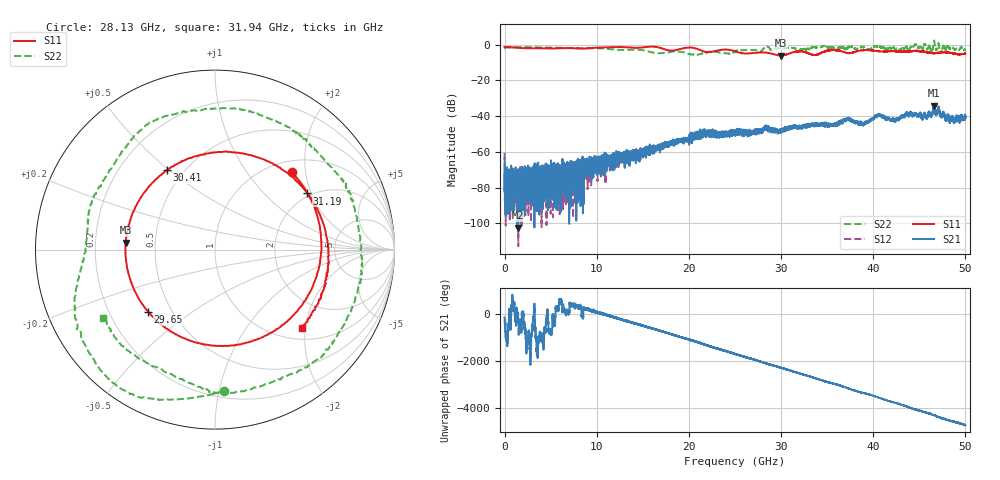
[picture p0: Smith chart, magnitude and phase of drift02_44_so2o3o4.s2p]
!Created with skrf (http://scikit-rf.org).
# Hz S RI R 50.0
!freq ReS11 ImS11 ReS21 ImS21 ReS12 ImS12 ReS22 ImS22
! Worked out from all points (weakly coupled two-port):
!   10001 points, 300 kHz to 50 GHz, reference 50 ohm
!   highest |S21| = -34.20 dB at 46.6 GHz (marker M1); lowest = -102.5 dB at 1.4 GHz (marker M2)
!   lowest |S11| = -6.1 dB at 30 GHz (marker M3), VSWR 2.99, Z = 16.8 + j1.71 ohm
!   |S11| at or under -10 dB: nowhere
!   |S22| runs from -5.7 to 2.4 dB; largest |S21 - S12| = 0.0032
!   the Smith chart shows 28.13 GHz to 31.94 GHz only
!   S11 on the Smith chart (normalised r, x): 28.13 GHz: 1.23, +1.67; 29.65 GHz: 0.37, -0.35; 30.41 GHz: 0.41, +0.49; 31.19 GHz: 1.91, +1.87; 31.94 GHz: 1.27, -1.91
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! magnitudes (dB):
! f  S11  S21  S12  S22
! 300 kHz  -1.3  -63.6  -60.4  -2.0
! 260.3 MHz  -1.4  -72.2  -95.1  -1.4
! 1.4 GHz  -1.7  -102.5  -77.7  -1.4
! 5.19 GHz  -2.1  -77.3  -82.9  -1.6
! 8.335 GHz  -2.2  -69.8  -68.6  -1.9
! 16.67 GHz  -1.4  -58.0  -58.1  -4.7
! 21.5 GHz  -3.5  -49.6  -48.5  -4.7
! 25 GHz  -3.7  -50.0  -48.9  -3.9
! 28.13 GHz  -4.3  -47.4  -47.0  -2.1
! 29.65 GHz  -5.9  -48.5  -48.2  -2.1
! 30 GHz  -6.1  -47.9  -48.2  -2.1
! 30.41 GHz  -5.7  -46.7  -47.8  -1.8
! 31.19 GHz  -4.4  -46.3  -46.5  -1.7
! 31.94 GHz  -3.7  -46.5  -46.2  -2.7
! 33.34 GHz  -5.5  -44.5  -44.1  -1.6
! 37.28 GHz  -4.8  -41.1  -41.5  -1.4
! 38.85 GHz  -3.1  -43.8  -43.6  -1.3
! 40.64 GHz  -3.7  -39.1  -39.3  -0.9
! 41.67 GHz  -3.6  -41.3  -41.1  -1.9
! 46.6 GHz  -4.6  -34.2  -34.4  1.9
! 48.12 GHz  -4.3  -39.7  -40.0  -0.6
! 50 GHz  -4.9  -40.5  -40.5  -2.7
